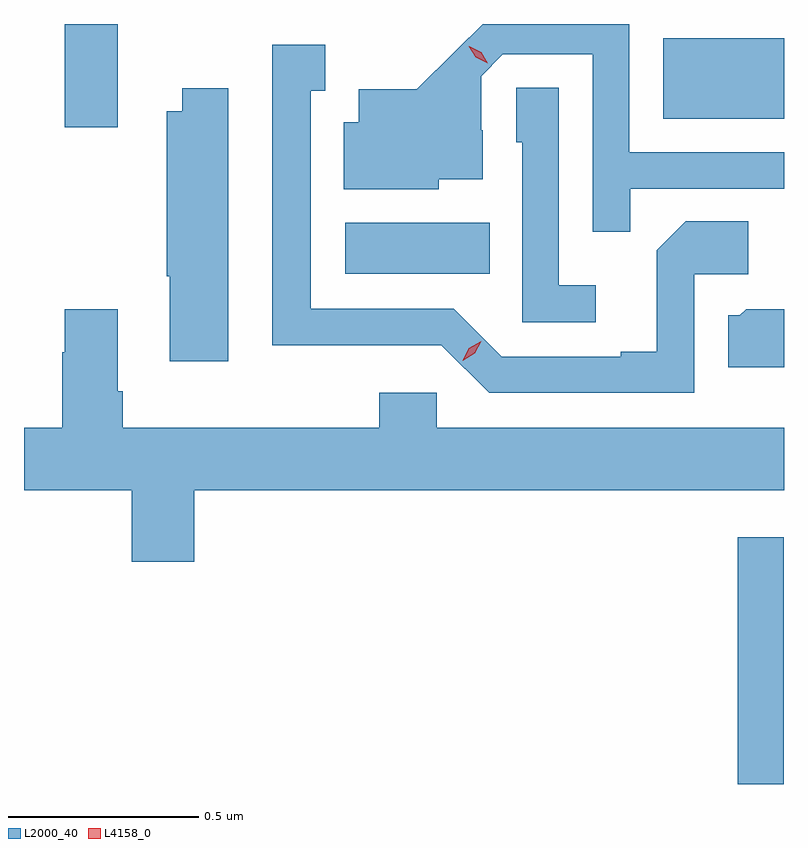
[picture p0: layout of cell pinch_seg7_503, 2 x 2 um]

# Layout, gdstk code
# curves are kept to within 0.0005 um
import gdstk
lib = gdstk.Library(unit=1e-6, precision=1e-09)
def R(c, l, rs):  # rectangles x0, y0, x1, y1
    for r in rs: c.add(gdstk.rectangle(r[:2], r[2:], *l))
def P(c, l, *ps):  # polygons
    for p in ps: c.add(gdstk.Polygon(p, *l))
L2000_40 = (2000, 40)
L4158_0 = (4158, 0)

pinch_seg7_503 = lib.new_cell('pinch_seg7_503')
R(pinch_seg7_503, L2000_40, [(214.554,1069.107,214.675,1069.756), (213.522,1070.45,213.902,1070.584), (212.783,1070.835,212.923,1071.107), (214.358,1070.858,214.676,1071.07)])
P(pinch_seg7_503, L2000_40, [(214.271,1070.673),(214.676,1070.673),(214.676,1070.769),(214.269,1070.769),(214.269,1071.107),(213.883,1071.107),(213.709,1070.935),(213.557,1070.935),(213.557,1070.848),(213.518,1070.848),(213.518,1070.672),(213.768,1070.672),(213.768,1070.699),(213.883,1070.699),(213.883,1070.828),(213.879,1070.828),(213.879,1070.97),(213.936,1071.027),(214.173,1071.027),(214.173,1070.56),(214.271,1070.56)],
  [(214.44,1070.448),(214.582,1070.448),(214.582,1070.588),(214.417,1070.588),(214.341,1070.512),(214.341,1070.245),(214.247,1070.245),(214.247,1070.232),(213.933,1070.232),(213.807,1070.358),(213.43,1070.358),(213.43,1070.931),(213.469,1070.931),(213.469,1071.052),(213.329,1071.052),(213.329,1070.261),(213.552,1070.261),(213.552,1070.262),(213.774,1070.262),(213.9,1070.136),(214.44,1070.136)],
  [(214.18,1070.419),(214.083,1070.419),(214.083,1070.939),(213.972,1070.939),(213.972,1070.796),(213.987,1070.796),(213.987,1070.322),(214.18,1070.322)],
  [(213.214,1070.938),(213.092,1070.938),(213.092,1070.878),(213.052,1070.878),(213.052,1070.443),(213.059,1070.443),(213.059,1070.22),(213.214,1070.22)],
  [(213.124,1069.88),(214.676,1069.88),(214.676,1070.044),(213.762,1070.044),(213.762,1070.137),(213.611,1070.137),(213.611,1070.044),(212.936,1070.044),(212.936,1070.14),(212.923,1070.14),(212.923,1070.356),(212.783,1070.356),(212.783,1070.243),(212.776,1070.243),(212.776,1070.044),(212.676,1070.044),(212.676,1069.88),(212.96,1069.88),(212.96,1069.692),(213.124,1069.692)],
  [(214.676,1070.356),(214.576,1070.356),(214.56,1070.34),(214.529,1070.34),(214.529,1070.204),(214.676,1070.204)])
P(pinch_seg7_503, L4158_0, [(213.896,1071.004),(213.865,1071.019),(213.847,1071.048),(213.847,1071.048),(213.848,1071.048),(213.879,1071.033),(213.896,1071.004),(213.896,1071.004)],
  [(213.83,1070.221),(213.83,1070.222),(213.847,1070.254),(213.879,1070.272),(213.879,1070.272),(213.879,1070.272),(213.862,1070.24),(213.83,1070.221)])

lib.write_gds('pinch_seg7_503.gds')
